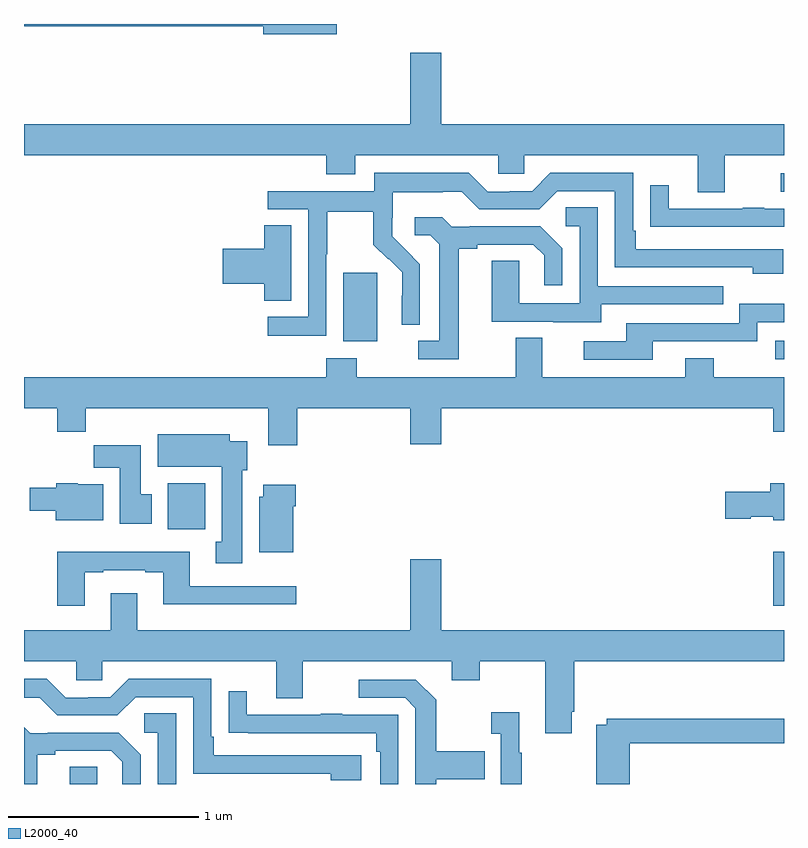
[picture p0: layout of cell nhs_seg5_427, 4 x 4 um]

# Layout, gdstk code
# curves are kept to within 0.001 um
import gdstk
lib = gdstk.Library(unit=1e-6, precision=1e-09)
def R(c, l, rs):  # rectangles x0, y0, x1, y1
    for r in rs: c.add(gdstk.rectangle(r[:2], r[2:], *l))
def P(c, l, *ps):  # polygons
    for p in ps: c.add(gdstk.Polygon(p, *l))
L2000_40 = (2000, 40)

nhs_seg5_427 = lib.new_cell('nhs_seg5_427')
R(nhs_seg5_427, L2000_40, [(139.241,838.799,139.386,838.889), (142.943,839.736,143,840.022), (139.757,840.14,139.954,840.382), (142.953,841.035,143,841.131), (140.681,841.13,140.86,841.491), (142.983,841.917,143,842.013)])
P(nhs_seg5_427, L2000_40, [(140.647,842.799),(139,842.799),(139,842.788),(140.258,842.788),(140.258,842.746),(140.647,842.746)],
  [(142.687,842.108),(143,842.108),(143,842.272),(141.196,842.272),(141.196,842.647),(141.032,842.647),(141.032,842.272),(139,842.272),(139,842.108),(140.591,842.108),(140.591,842.009),(140.743,842.009),(140.743,842.108),(141.495,842.108),(141.495,842.01),(141.633,842.01),(141.633,842.108),(142.547,842.108),(142.547,841.914),(142.687,841.914)],
  [(140.592,841.588),(140.595,841.588),(140.595,841.812),(140.839,841.812),(140.839,841.637),(140.916,841.56),(140.919,841.563),(140.99,841.493),(140.99,841.37),(140.988,841.37),(140.988,841.216),(141.084,841.216),(141.084,841.534),(140.938,841.682),(140.938,841.779),(140.94,841.779),(140.94,841.913),(141.203,841.913),(141.203,841.917),(141.303,841.917),(141.396,841.824),(141.711,841.824),(141.807,841.92),(142.11,841.92),(142.11,841.518),(142.835,841.518),(142.835,841.484),(142.996,841.484),(142.996,841.614),(142.219,841.614),(142.219,841.711),(142.206,841.711),(142.206,842.016),(141.771,842.016),(141.675,841.92),(141.557,841.92),(141.557,841.917),(141.441,841.917),(141.341,842.017),(140.844,842.017),(140.844,841.92),(140.283,841.92),(140.283,841.824),(140.496,841.824),(140.496,841.257),(140.283,841.257),(140.283,841.159),(140.592,841.159)],
  [(143,841.827),(142.895,841.827),(142.895,841.832),(142.783,841.832),(142.783,841.827),(142.393,841.827),(142.393,841.951),(142.297,841.951),(142.297,841.732),(142.399,841.732),(142.399,841.731),(143,841.731)],
  [(142.039,841.323),(142.679,841.323),(142.679,841.419),(142.02,841.419),(142.02,841.835),(141.852,841.835),(141.852,841.734),(141.924,841.734),(141.924,841.329),(141.606,841.329),(141.606,841.553),(141.461,841.553),(141.461,841.233),(141.785,841.233),(141.785,841.229),(142.039,841.229)],
  [(141.289,841.616),(141.385,841.616),(141.385,841.638),(141.68,841.638),(141.737,841.581),(141.737,841.425),(141.834,841.425),(141.834,841.618),(141.718,841.734),(141.346,841.734),(141.346,841.731),(141.252,841.731),(141.2,841.783),(141.057,841.783),(141.057,841.686),(141.138,841.686),(141.185,841.639),(141.185,841.131),(141.075,841.131),(141.075,841.035),(141.289,841.035)],
  [(140.407,841.739),(140.264,841.739),(140.264,841.616),(140.046,841.616),(140.046,841.433),(140.264,841.433),(140.264,841.342),(140.407,841.342)],
  [(142.309,841.128),(142.86,841.128),(142.86,841.23),(143,841.23),(143,841.327),(142.764,841.327),(142.764,841.224),(142.169,841.224),(142.169,841.128),(141.945,841.128),(141.945,841.032),(142.309,841.032)],
  [(140.438,840.776),(141.032,840.776),(141.032,840.588),(141.196,840.588),(141.196,840.776),(142.943,840.776),(142.943,840.652),(143,840.652),(143,840.94),(142.629,840.94),(142.629,841.039),(142.481,841.039),(142.481,840.94),(141.727,840.94),(141.727,841.148),(141.587,841.148),(141.587,840.94),(140.751,840.94),(140.751,841.039),(140.591,841.039),(140.591,840.94),(139,840.94),(139,840.776),(139.174,840.776),(139.174,840.652),(139.325,840.652),(139.325,840.776),(140.285,840.776),(140.285,840.582),(140.438,840.582)],
  [(140.149,840.45),(140.176,840.45),(140.176,840.604),(140.083,840.604),(140.083,840.64),(139.703,840.64),(139.703,840.47),(140.042,840.47),(140.042,840.074),(140.009,840.074),(140.009,839.961),(140.149,839.961)],
  [(139.672,840.324),(139.615,840.324),(139.615,840.582),(139.366,840.582),(139.366,840.464),(139.505,840.464),(139.505,840.168),(139.672,840.168)],
  [(139.417,840.376),(139.284,840.376),(139.284,840.382),(139.17,840.382),(139.17,840.358),(139.029,840.358),(139.029,840.236),(139.166,840.236),(139.166,840.188),(139.417,840.188)],
  [(143,840.382),(142.928,840.382),(142.928,840.336),(142.692,840.336),(142.692,840.194),(142.824,840.194),(142.824,840.206),(142.944,840.206),(142.944,840.188),(143,840.188)],
  [(140.416,840.26),(140.429,840.26),(140.429,840.373),(140.258,840.373),(140.258,840.312),(140.237,840.312),(140.237,840.02),(140.416,840.02)],
  [(139.321,839.913),(139.417,839.913),(139.417,839.925),(139.637,839.925),(139.637,839.913),(139.733,839.913),(139.733,839.744),(140.434,839.744),(140.434,839.841),(139.873,839.841),(139.873,840.022),(139.174,840.022),(139.174,839.736),(139.321,839.736)],
  [(141.883,839.179),(141.896,839.179),(141.896,839.444),(143,839.444),(143,839.608),(141.196,839.608),(141.196,839.983),(141.032,839.983),(141.032,839.608),(139.597,839.608),(139.597,839.803),(139.457,839.803),(139.457,839.608),(139,839.608),(139,839.444),(139.275,839.444),(139.275,839.346),(139.413,839.346),(139.413,839.444),(140.327,839.444),(140.327,839.25),(140.467,839.25),(140.467,839.444),(141.251,839.444),(141.251,839.345),(141.399,839.345),(141.399,839.444),(141.743,839.444),(141.743,839.067),(141.883,839.067)],
  [(140.776,838.95),(139.999,838.95),(139.999,839.047),(139.986,839.047),(139.986,839.352),(139.551,839.352),(139.455,839.256),(139.337,839.256),(139.337,839.253),(139.221,839.253),(139.121,839.353),(139,839.353),(139,839.253),(139.083,839.253),(139.176,839.16),(139.491,839.16),(139.587,839.256),(139.89,839.256),(139.89,838.854),(140.615,838.854),(140.615,838.82),(140.776,838.82)],
  [(141.169,838.823),(141.425,838.823),(141.425,838.971),(141.169,838.971),(141.169,839.243),(141.063,839.349),(140.763,839.349),(140.763,839.253),(141.006,839.253),(141.06,839.199),(141.06,838.799),(141.169,838.799)],
  [(140.97,839.163),(140.675,839.163),(140.675,839.168),(140.563,839.168),(140.563,839.163),(140.173,839.163),(140.173,839.287),(140.077,839.287),(140.077,839.068),(140.179,839.068),(140.179,839.067),(140.854,839.067),(140.854,838.97),(140.874,838.97),(140.874,838.799),(140.97,838.799)],
  [(141.619,838.963),(141.607,838.963),(141.607,839.176),(141.459,839.176),(141.459,839.063),(141.51,839.063),(141.51,838.799),(141.619,838.799)],
  [(139.8,839.171),(139.632,839.171),(139.632,839.07),(139.704,839.07),(139.704,838.799),(139.8,838.799)],
  [(142.187,839.014),(143,839.014),(143,839.143),(142.068,839.143),(142.068,839.11),(142.012,839.11),(142.012,838.799),(142.187,838.799)],
  [(139.069,838.952),(139.165,838.952),(139.165,838.974),(139.46,838.974),(139.517,838.917),(139.517,838.799),(139.614,838.799),(139.614,838.954),(139.498,839.07),(139.126,839.07),(139.126,839.067),(139.032,839.067),(139,839.099),(139,838.799),(139.069,838.799)])

lib.write_gds('nhs_seg5_427.gds')
